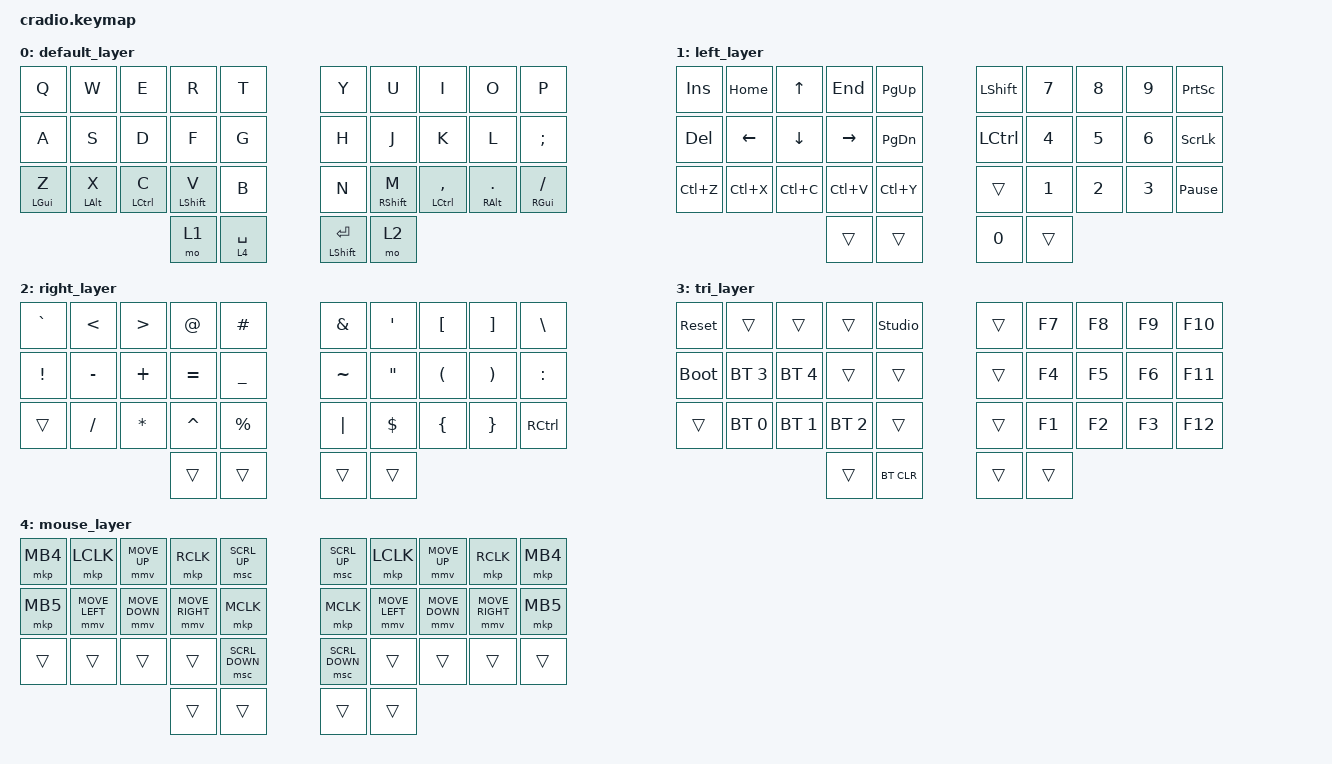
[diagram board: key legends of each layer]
// Copyright (c) 2022 The ZMK Contributors
// SPDX-License-Identifier: MIT

#include <behaviors.dtsi>
#include <dt-bindings/zmk/keys.h>
#include <dt-bindings/zmk/bt.h>
#include <dt-bindings/zmk/pointing.h>

/ {
    behaviors {

        ht: hold_tap {
            compatible = "zmk,behavior-hold-tap";
            #binding-cells = <2>;
            flavor = "balanced";
            tapping-term-ms = <199>;
            quick-tap-ms = <100>;
            require-prior-idle-ms = <100>;
            bindings = <&kp>, <&kp>;
        };
    };

    conditional_layers {
        compatible = "zmk,conditional-layers";

        tri_layer {
            if-layers = <2 1>;
            then-layer = <3>;
        };
    };

    combos {
        compatible = "zmk,combos";

        tab {
            bindings = <&kp TAB>;
            key-positions = <13 12>;
        };

        backspace {
            bindings = <&kp BACKSPACE>;
            key-positions = <16 17>;
        };

        esc {
            bindings = <&kp ESCAPE>;
            key-positions = <2 3>;
        };

        window_change_language {
            bindings = <&kp RIGHT_ALT>;
            key-positions = <32 31>;
        };

        space {
            bindings = <&kp SPACE>;
            key-positions = <23 22>;
        };

        enter {
            bindings = <&kp ENTER>;
            key-positions = <27 26>;
        };

        capsword {
            bindings = <&caps_word>;
            key-positions = <14 15>;
        };
    };

    keymap {
        compatible = "zmk,keymap";

        default_layer {
            bindings = <
&kp Q           &kp W           &kp E        &kp R             &kp T          &kp Y                 &kp U              &kp I            &kp O              &kp P
&kp A           &kp S           &kp D        &kp F             &kp G          &kp H                 &kp J              &kp K            &kp L              &kp SEMICOLON
&ht LEFT_GUI Z  &ht LEFT_ALT X  &ht LCTRL C  &ht LEFT_SHIFT V  &kp B          &kp N                 &ht RIGHT_SHIFT M  &ht LCTRL COMMA  &ht RIGHT_ALT DOT  &ht RIGHT_GUI FSLH
                                             &mo 1             &lt 4 SPACE    &mt LEFT_SHIFT ENTER  &mo 2
            >;
        };

        left_layer {
            bindings = <
&kp INSERT  &kp HOME   &kp UP_ARROW  &kp END    &kp PAGE_UP      &kp LEFT_SHIFT    &kp NUMBER_7  &kp NUMBER_8  &kp NUMBER_9  &kp PRINTSCREEN
&kp DELETE  &kp LEFT   &kp DOWN      &kp RIGHT  &kp PAGE_DOWN    &kp LEFT_CONTROL  &kp NUMBER_4  &kp NUMBER_5  &kp NUMBER_6  &kp SCROLLLOCK
&kp LC(Z)   &kp LC(X)  &kp LC(C)     &kp LC(V)  &kp LC(Y)        &trans            &kp NUMBER_1  &kp NUMBER_2  &kp NUMBER_3  &kp PAUSE_BREAK
                                     &trans     &trans           &kp NUMBER_0      &trans
            >;
        };

        right_layer {
            bindings = <
&kp GRAVE        &kp LESS_THAN  &kp GREATER_THAN  &kp AT_SIGN  &kp HASH          &kp AMPERSAND  &kp SQT            &kp LEFT_BRACKET      &kp RIGHT_BRACKET      &kp BACKSLASH
&kp EXCLAMATION  &kp MINUS      &kp PLUS          &kp EQUAL    &kp UNDERSCORE    &kp TILDE      &kp DOUBLE_QUOTES  &kp LEFT_PARENTHESIS  &kp RIGHT_PARENTHESIS  &kp COLON
&trans           &kp SLASH      &kp ASTERISK      &kp CARET    &kp PERCENT       &kp PIPE       &kp DOLLAR         &kp LEFT_BRACE        &kp RIGHT_BRACE        &kp RCTRL
                                                  &trans       &trans            &trans         &trans
            >;
        };

        tri_layer {
            bindings = <
&sys_reset   &trans        &trans        &trans        &studio_unlock    &trans  &kp F7  &kp F8  &kp F9  &kp F10
&bootloader  &bt BT_SEL 3  &bt BT_SEL 4  &trans        &trans            &trans  &kp F4  &kp F5  &kp F6  &kp F11
&trans       &bt BT_SEL 0  &bt BT_SEL 1  &bt BT_SEL 2  &trans            &trans  &kp F1  &kp F2  &kp F3  &kp F12
                                         &trans        &bt BT_CLR        &trans  &trans
            >;
        };

        mouse_layer {
            bindings = <
&mkp MB4  &mkp LCLK       &mmv MOVE_UP    &mkp RCLK        &msc SCRL_UP      &msc SCRL_UP    &mkp LCLK       &mmv MOVE_UP    &mkp RCLK        &mkp MB4
&mkp MB5  &mmv MOVE_LEFT  &mmv MOVE_DOWN  &mmv MOVE_RIGHT  &mkp MCLK         &mkp MCLK       &mmv MOVE_LEFT  &mmv MOVE_DOWN  &mmv MOVE_RIGHT  &mkp MB5
&trans    &trans          &trans          &trans           &msc SCRL_DOWN    &msc SCRL_DOWN  &trans          &trans          &trans           &trans
                                          &trans           &trans            &trans          &trans
            >;
        };
    };
};
